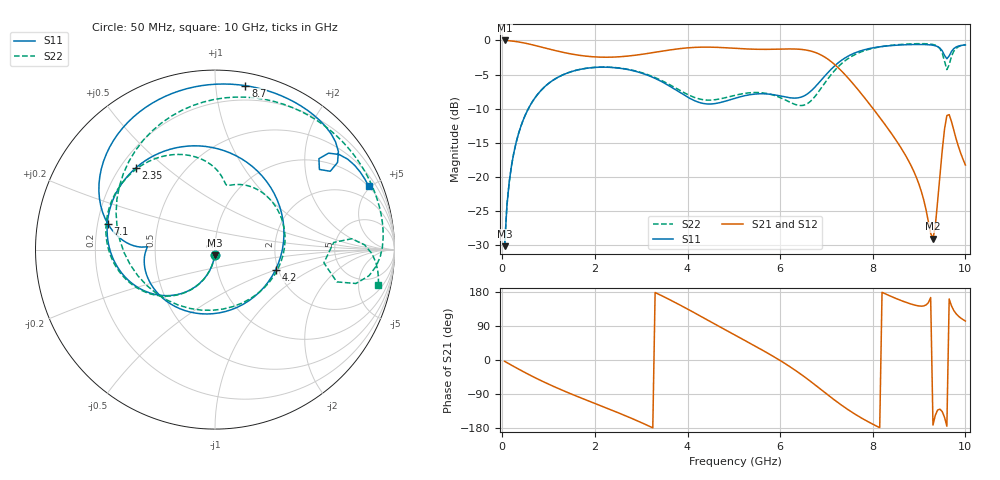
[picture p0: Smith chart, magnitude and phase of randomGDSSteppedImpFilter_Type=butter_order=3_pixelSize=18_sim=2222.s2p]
! freq	dB(S11)	phase(S11)	dB(S12)	phase(S12)
!  dB(S21)	phase(S21)	dB(S22)	phase(S22)
!S-par simulation data
#  GHz  S  DB  R 50
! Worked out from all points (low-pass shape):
!   200 points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, 50 MHz to 10 GHz, reference 50 ohm
!   highest |S21| = -0.01 dB at 50 MHz (marker M1); lowest = -29.1 dB at 9.3 GHz (marker M2)
!   |S21| within 3 dB of the highest: start of sweep to 7.082 GHz
!   lowest |S11| = -30.2 dB at 50 MHz (marker M3), VSWR 1.06, Z = 49.7 - j3.08 ohm
!   |S11| at or under -10 dB: start of sweep to 564 MHz
!   |S22| runs from -30.2 to -0.5 dB; largest |S21 - S12| = 0
!   S11 on the Smith chart (normalised r, x): 50 MHz: 0.99, -0.06; 2.35 GHz: 0.26, +0.40; 4.2 GHz: 1.94, -0.49; 7.1 GHz: 0.24, +0.11; 8.7 GHz: 0.09, +1.20; 10 GHz: 0.98, +4.85
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0.05  -30.16 -93.6  -0.01 -3.5  -0.01 -3.5  -30.16 -93.5
0.2  -18.31 -104.3  -0.09 -13.8  -0.09 -13.8  -18.31 -104.2
0.5  -10.89 -124.4  -0.42 -33.7  -0.42 -33.7  -10.89 -124.0
1.05  -6.05 -157.7  -1.34 -66.6  -1.34 -66.6  -6.05 -156.5
1.75  -4.16 165.2  -2.27 -102.6  -2.27 -102.6  -4.15 168.6
2.35  -3.96 133.9  -2.46 -131.7  -2.46 -131.7  -3.94 142.0
2.9  -4.58 101.7  -2.15 -159.7  -2.15 -159.7  -4.52 118.8
3.4  -5.90 65.6  -1.63 172.2  -1.63 172.2  -5.75 99.6
4.2  -8.97 -18.2  -1.01 121.1  -1.01 121.1  -8.48 81.6
5.05  -8.43 -116.4  -1.17 64.0  -1.17 64.0  -8.01 64.3
6  -8.14 -175.9  -1.28 -1.3  -1.28 -1.3  -8.39 -4.2
6.35  -8.45 177.8  -1.27 -29.1  -1.27 -29.1  -9.45 -54.0
6.7  -7.20 177.7  -1.64 -60.5  -1.64 -60.5  -8.63 -123.4
7.1  -4.24 166.5  -3.10 -98.7  -3.10 -98.7  -5.03 166.8
7.7  -1.61 132.9  -7.37 -149.1  -7.37 -149.1  -1.81 98.9
8.35  -0.79 97.4  -13.14 170.3  -13.14 170.3  -0.76 52.0
8.7  -0.64 79.5  -16.77 152.9  -16.77 152.9  -0.55 32.4
9.3  -0.71 48.0  -29.06 -171.6  -29.06 -171.6  -0.61 0.9
9.5  -1.53 35.4  -16.14 -136.2  -16.14 -136.2  -1.86 -13.5
9.6  -2.69 37.5  -11.02 -174.7  -11.02 -174.7  -4.28 -6.9
9.7  -1.62 40.3  -11.90 142.8  -11.90 142.8  -2.33 4.5
10  -0.67 22.4  -18.26 102.9  -18.26 102.9  -0.62 -12.1
